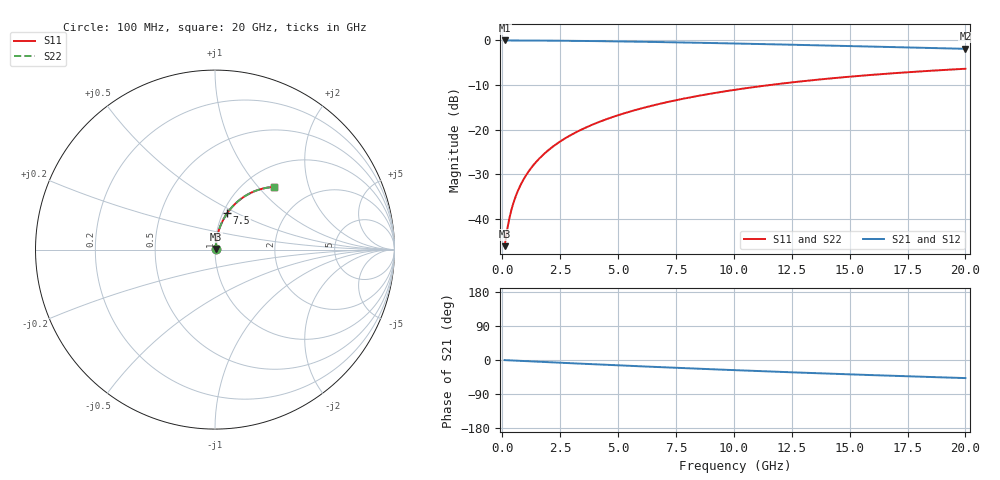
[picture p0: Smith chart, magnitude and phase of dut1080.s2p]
! Touchstone file exported from HFSS 2024.1.0
!  File:  C:/UserFiles/LocalFiles/RDL_TSV_Batchsim/temp_RDL_top_1080_1780045515.aedt
!  Generated:  05:07:26 PM May 29, 2026
!  Design:  RDL_top
!  Project:  temp_RDL_top_1080_1780045515
!  Setup:  Setup1
!  Solution:  Sweep
! Variables:
!  dtsv = 10.80580581um
!  hbump = 3um
!  htsv = 67.49um
!  ldown = 100um
!  lrdl = 675.17um
!  p = 40
!  p1 = 45.94um
!  rhole = 1um
!  t = 450um
!  tdown = 3.915915916um
!  trdl = 4.81um
!  wdown = 15.38538539um
!  wrdl = 13.09um
# GHz S MA R 50.000000
! Terminal data exported
! Port[1] = Box2_T1
! Port[2] = Box2_T2
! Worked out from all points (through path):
!   200 points, 100 MHz to 20 GHz, reference 50 ohm
!   highest |S21| = -0.03 dB at 100 MHz (marker M1); lowest = -1.9 dB at 20 GHz (marker M2)
!   group delay of S21, straight-line fit = 6.62 ps
!   lowest |S11| = -46.1 dB at 100 MHz (marker M3), VSWR 1.01, Z = 50.4 + j0.309 ohm
!   |S11| at or under -10 dB: start of sweep to 11.59 GHz
!   |S22| runs from -46.1 to -6.4 dB; largest |S21 - S12| = 4.4e-15
!   S11 on the Smith chart (normalised r, x): 100 MHz: 1.01, +0.01; 7.5 GHz: 1.05, +0.44; 20 GHz: 1.35, +1.22
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0.1  0.004927 38.6  0.9961 -0.3  0.9961 -0.3  0.004927 38.6
! Gamma 0 0 0 0
! Port Impedance 50 0 50 0
0.2  0.00728 56.9  0.996 -0.6  0.996 -0.6  0.00728 56.9
0.3  0.009973 65.5  0.9959 -0.9  0.9959 -0.9  0.009973 65.5
0.4  0.01276 70.3  0.9957 -1.2  0.9957 -1.2  0.01276 70.3
0.5  0.01559 73.3  0.9956 -1.5  0.9956 -1.5  0.01559 73.3
0.6  0.01844 75.3  0.9954 -1.8  0.9954 -1.8  0.01844 75.3
0.8  0.02418 77.8  0.995 -2.3  0.995 -2.3  0.02418 77.8
1.1  0.03285 79.7  0.9944 -3.2  0.9944 -3.2  0.03285 79.7
1.5  0.04446 80.7  0.9933 -4.3  0.9933 -4.3  0.04446 80.7
1.8  0.05317 80.9  0.9922 -5.2  0.9922 -5.2  0.05317 80.9
2.1  0.06187 80.9  0.991 -6.0  0.991 -6.0  0.06187 80.9
2.7  0.07922 80.4  0.9882 -7.7  0.9882 -7.7  0.07922 80.4
3.5  0.1022 79.2  0.9835 -10.0  0.9835 -10.0  0.1022 79.2
4.2  0.1221 78.0  0.9787 -11.9  0.9787 -11.9  0.1221 78.0
5  0.1446 76.5  0.9724 -14.1  0.9724 -14.1  0.1446 76.5
5.9  0.1696 74.8  0.9646 -16.5  0.9646 -16.5  0.1696 74.8
6.8  0.1942 73.0  0.956 -18.8  0.956 -18.8  0.1942 73.0
7.5  0.213 71.5  0.949 -20.6  0.949 -20.6  0.2131 71.5
10.1  0.2802 66.1  0.9206 -26.9  0.9206 -26.9  0.2802 66.1
13.4  0.3573 59.3  0.8815 -34.5  0.8815 -34.5  0.3574 59.3
16.7  0.424 52.8  0.8416 -41.4  0.8416 -41.4  0.4241 52.8
20  0.4798 46.7  0.8027 -47.7  0.8027 -47.7  0.48 46.7
